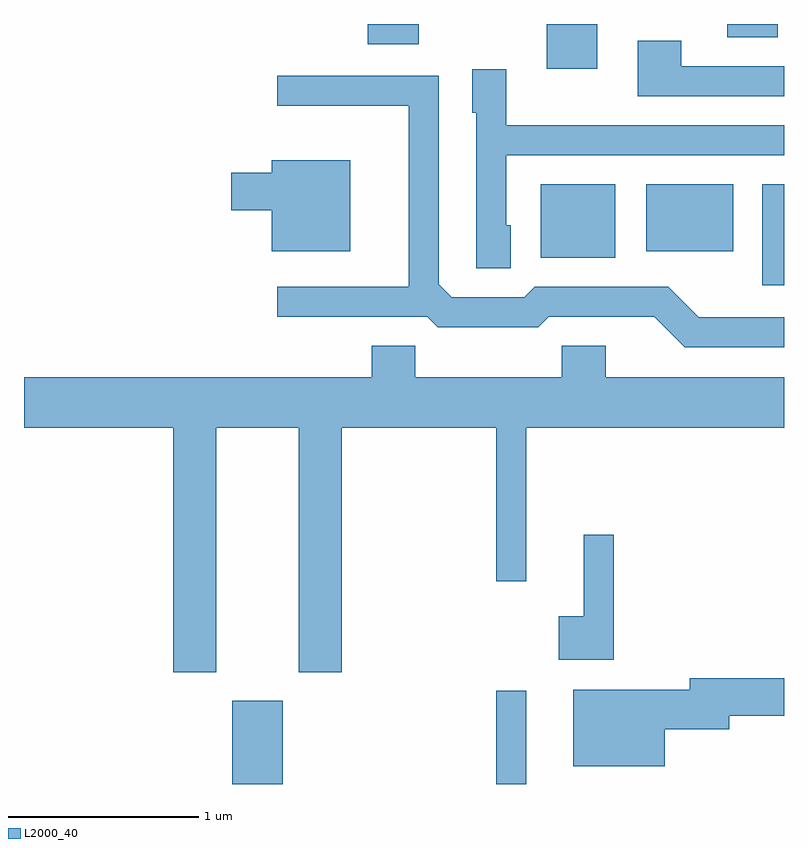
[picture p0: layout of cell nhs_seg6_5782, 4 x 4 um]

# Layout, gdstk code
import gdstk
lib = gdstk.Library(unit=1e-6, precision=1e-09)
def R(c, l, rs):  # rectangles x0, y0, x1, y1
    for r in rs: c.add(gdstk.rectangle(r[:2], r[2:], *l))
def P(c, l, *ps):  # polygons
    for p in ps: c.add(gdstk.Polygon(p, *l))
L2000_40 = (2000, 40)

nhs_seg6_5782 = lib.new_cell('nhs_seg6_5782')
R(nhs_seg6_5782, L2000_40, [(362.706,1548.162,362.974,1548.599), (364.096,1548.162,364.254,1548.653), (365.496,1550.788,365.611,1551.319), (364.331,1550.931,364.724,1551.319), (364.886,1550.966,365.344,1551.319), (364.361,1551.926,364.629,1552.162), (363.421,1552.056,363.689,1552.162), (365.311,1552.091,365.579,1552.162)])
P(nhs_seg6_5782, L2000_40, [(365.611,1551.939),(365.069,1551.939),(365.069,1552.074),(364.841,1552.074),(364.841,1551.781),(365.611,1551.781)],
  [(364.174,1551.104),(364.149,1551.104),(364.149,1551.471),(365.611,1551.471),(365.611,1551.629),(364.149,1551.629),(364.149,1551.924),(363.971,1551.924),(363.971,1551.696),(363.991,1551.696),(363.991,1550.876),(364.174,1550.876)],
  [(365.611,1550.619),(365.162,1550.619),(365.002,1550.779),(364.299,1550.779),(364.244,1550.724),(363.862,1550.724),(363.794,1550.792),(363.794,1551.889),(362.943,1551.889),(362.943,1551.731),(363.636,1551.731),(363.636,1550.779),(362.943,1550.779),(362.943,1550.621),(363.734,1550.621),(363.789,1550.566),(364.317,1550.566),(364.372,1550.621),(364.929,1550.621),(365.089,1550.461),(365.611,1550.461)],
  [(363.329,1551.444),(362.916,1551.444),(362.916,1551.379),(362.701,1551.379),(362.701,1551.181),(362.916,1551.181),(362.916,1550.966),(363.329,1550.966)],
  [(362.624,1550.036),(363.056,1550.036),(363.056,1548.751),(363.284,1548.751),(363.284,1550.036),(364.096,1550.036),(364.096,1549.228),(364.254,1549.228),(364.254,1550.036),(365.611,1550.036),(365.611,1550.304),(364.674,1550.304),(364.674,1550.469),(364.441,1550.469),(364.441,1550.304),(363.669,1550.304),(363.669,1550.469),(363.441,1550.469),(363.441,1550.304),(361.611,1550.304),(361.611,1550.036),(362.396,1550.036),(362.396,1548.751),(362.624,1548.751)],
  [(364.714,1549.473),(364.556,1549.473),(364.556,1549.044),(364.426,1549.044),(364.426,1548.816),(364.714,1548.816)],
  [(364.984,1548.451),(365.324,1548.451),(365.324,1548.521),(365.611,1548.521),(365.611,1548.719),(365.116,1548.719),(365.116,1548.659),(364.501,1548.659),(364.501,1548.256),(364.984,1548.256)])

lib.write_gds('nhs_seg6_5782.gds')
